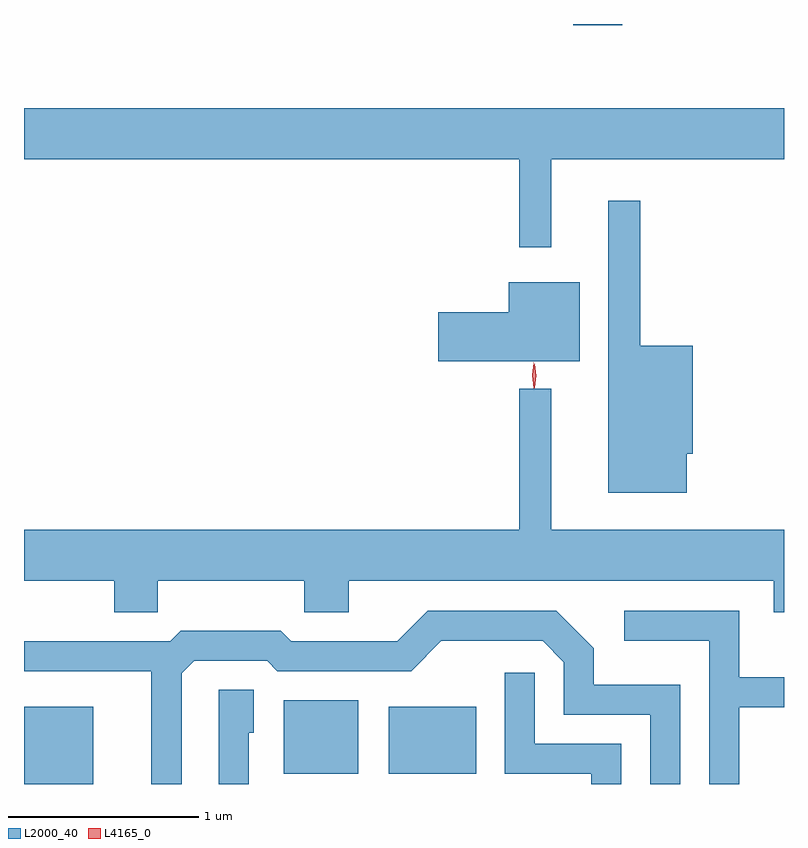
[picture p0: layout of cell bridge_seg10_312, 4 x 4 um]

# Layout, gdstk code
import gdstk
lib = gdstk.Library(unit=1e-6, precision=1e-09)
def R(c, l, rs):  # rectangles x0, y0, x1, y1
    for r in rs: c.add(gdstk.rectangle(r[:2], r[2:], *l))
def P(c, l, *ps):  # polygons
    for p in ps: c.add(gdstk.Polygon(p, *l))
L2000_40 = (2000, 40)
L4165_0 = (4165, 0)

bridge_seg10_312 = lib.new_cell('bridge_seg10_312')
R(bridge_seg10_312, L2000_40, [(1384.535,2206.087,1384.899,2206.494), (1385.901,2206.141,1386.294,2206.529), (1386.456,2206.141,1386.914,2206.494), (1387.426,2210.081,1387.684,2210.087)])
P(bridge_seg10_312, L2000_40, [(1387.309,2209.376),(1388.535,2209.376),(1388.535,2209.644),(1384.535,2209.644),(1384.535,2209.376),(1387.141,2209.376),(1387.141,2208.913),(1387.309,2208.913)],
  [(1388.024,2207.826),(1388.054,2207.826),(1388.054,2208.394),(1387.779,2208.394),(1387.779,2209.158),(1387.611,2209.158),(1387.611,2207.621),(1388.024,2207.621)],
  [(1387.459,2208.729),(1387.086,2208.729),(1387.086,2208.569),(1386.716,2208.569),(1386.716,2208.311),(1387.459,2208.311)],
  [(1387.141,2208.168),(1387.141,2207.424),(1384.535,2207.424),(1384.535,2207.156),(1385.011,2207.156),(1385.011,2206.991),(1385.239,2206.991),(1385.239,2207.156),(1386.011,2207.156),(1386.011,2206.991),(1386.244,2206.991),(1386.244,2207.156),(1388.481,2207.156),(1388.481,2206.991),(1388.535,2206.991),(1388.535,2207.424),(1387.309,2207.424),(1387.309,2208.168)],
  [(1385.364,2206.669),(1385.432,2206.736),(1385.814,2206.736),(1385.869,2206.681),(1386.572,2206.681),(1386.732,2206.841),(1387.264,2206.841),(1387.376,2206.729),(1387.376,2206.451),(1387.831,2206.451),(1387.831,2206.087),(1387.989,2206.087),(1387.989,2206.609),(1387.534,2206.609),(1387.534,2206.802),(1387.337,2206.999),(1386.659,2206.999),(1386.499,2206.839),(1385.942,2206.839),(1385.887,2206.894),(1385.359,2206.894),(1385.304,2206.839),(1384.535,2206.839),(1384.535,2206.681),(1385.206,2206.681),(1385.206,2206.087),(1385.364,2206.087)],
  [(1388.299,2206.491),(1388.535,2206.491),(1388.535,2206.649),(1388.299,2206.649),(1388.299,2206.999),(1387.693,2206.999),(1387.693,2206.841),(1388.141,2206.841),(1388.141,2206.087),(1388.299,2206.087)],
  [(1387.679,2206.299),(1387.224,2206.299),(1387.224,2206.673),(1387.066,2206.673),(1387.066,2206.141),(1387.521,2206.141),(1387.521,2206.087),(1387.679,2206.087)],
  [(1385.719,2206.356),(1385.744,2206.356),(1385.744,2206.584),(1385.561,2206.584),(1385.561,2206.087),(1385.719,2206.087)])
P(bridge_seg10_312, L4165_0, [(1387.222,2208.173),(1387.222,2208.173),(1387.212,2208.236),(1387.222,2208.3),(1387.222,2208.3),(1387.223,2208.3),(1387.232,2208.236),(1387.223,2208.173)],
  [(1387.219,2208.17),(1387.209,2208.238),(1387.218,2208.305),(1387.219,2208.306),(1387.219,2208.305),(1387.229,2208.238),(1387.22,2208.17),(1387.22,2208.17)])

lib.write_gds('bridge_seg10_312.gds')
